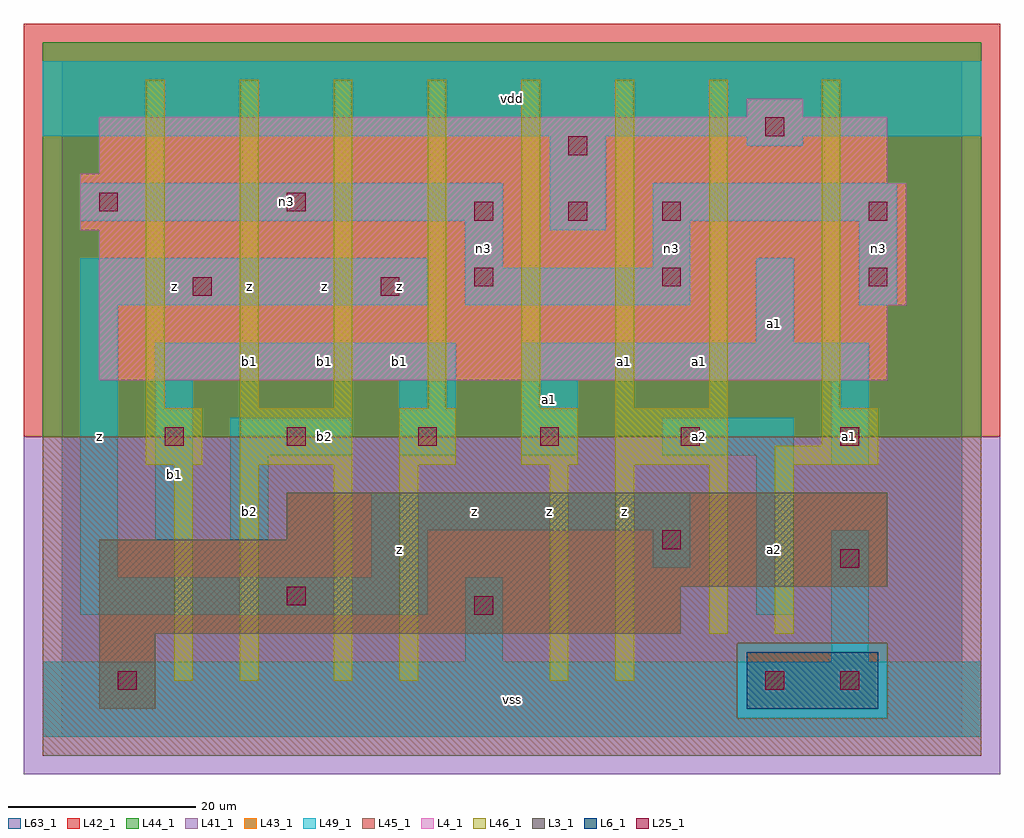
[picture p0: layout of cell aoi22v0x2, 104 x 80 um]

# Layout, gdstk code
import gdstk
lib = gdstk.Library(unit=1e-6, precision=1e-09)
def R(c, l, rs):  # rectangles x0, y0, x1, y1
    for r in rs: c.add(gdstk.rectangle(r[:2], r[2:], *l))
def A(c, l, x, y, w, h, nx, ny, dx, dy):  # array of equal rectangles
    R(c, l, [(x+i*dx, y+j*dy, x+i*dx+w, y+j*dy+h) for i in range(nx) for j in range(ny)])
L3_1 = (3, 1)
L4_1 = (4, 1)
L6_1 = (6, 1)
L25_1 = (25, 1)
L41_1 = (41, 1)
L42_1 = (42, 1)
L43_1 = (43, 1)
L44_1 = (44, 1)
L45_1 = (45, 1)
L46_1 = (46, 1)
L49_1 = (49, 1)
L63_1 = (63, 1)

aoi22v0x2 = lib.new_cell('aoi22v0x2')
R(aoi22v0x2, L3_1, [(4,3,10,11), (4,11,66,16), (4,16,88,21), (24,21,88,26)])
R(aoi22v0x2, L4_1, [(4,38,88,46), (4,46,90,54), (2,54,90,59), (2,59,88,60), (4,60,88,66), (73,66,79,68)])
R(aoi22v0x2, L6_1, [(73,3,87,9), (73,3,87,9)])
A(aoi22v0x2, L25_1, 83, 5, 2, 2, 1, 3, 0, 13)
A(aoi22v0x2, L25_1, 44, 55, 2, 2, 3, 1, 10, 0)
R(aoi22v0x2, L25_1, [(6,5,8,7), (75,5,77,7), (44,13,46,15), (24,14,26,16), (64,20,66,22), (11,31,13,33), (24,31,26,33), (38,31,40,33), (51,31,53,33), (66,31,68,33), (14,47,16,49), (34,47,36,49), (44,48,46,50), (64,48,66,50), (86,48,88,50), (86,55,88,57), (4,56,6,58), (24,56,26,58), (54,62,56,64), (75,64,77,66)])
R(aoi22v0x2, L41_1, [(-4,-4,100,32)])
R(aoi22v0x2, L42_1, [(-4,32,100,76)])
R(aoi22v0x2, L43_1, [(4,3,10,11), (73,3,87,9), (4,11,66,16), (4,16,88,21), (24,21,88,26), (4,38,88,46), (4,46,90,54), (2,54,90,59), (2,59,88,60), (4,60,88,66), (73,66,79,68)])
R(aoi22v0x2, L44_1, [(72,2,88,10), (-2,32,98,74)])
R(aoi22v0x2, L45_1, [(-2,-2,98,2), (-2,2,72,10), (88,2,98,10), (-2,10,98,32)])
A(aoi22v0x2, L46_1, 9, 35, 2, 35, 7, 1, 10, 0)
R(aoi22v0x2, L46_1, [(12,6,14,29), (19,6,21,29), (29,6,31,29), (36,6,38,29), (52,6,54,29), (59,6,61,29), (69,11,71,29), (76,11,78,29), (9,29,15,35), (19,29,31,35), (36,29,42,35), (49,29,55,35), (59,29,71,35), (76,29,87,31), (81,31,87,35), (81,35,83,70)])
R(aoi22v0x2, L49_1, [(-2,0,98,8), (43,8,47,17), (82,8,86,22), (2,13,39,17), (74,13,78,30), (2,17,6,46), (33,17,39,22), (63,18,67,22), (10,21,14,38), (18,21,22,30), (33,22,67,26), (82,29,86,38), (18,30,31,34), (36,30,42,38), (49,30,55,38), (64,30,78,34), (10,38,42,42), (49,38,86,42), (74,42,78,51), (2,46,39,51), (43,46,67,50), (85,46,89,55), (43,50,47,55), (63,50,67,55), (52,54,58,64), (2,55,47,59), (63,55,89,59), (73,63,79,64), (-2,64,98,72)])
R(aoi22v0x2, L63_1, [(0,0,96,72)])
aoi22v0x2.add(gdstk.Label('b1', (12,28), layer=49, texttype=1))
aoi22v0x2.add(gdstk.Label('z', (4,32), layer=49, texttype=1))
aoi22v0x2.add(gdstk.Label('z', (12,48), layer=49, texttype=1))
aoi22v0x2.add(gdstk.Label('b2', (20,24), layer=49, texttype=1))
aoi22v0x2.add(gdstk.Label('b2', (28,32), layer=49, texttype=1))
aoi22v0x2.add(gdstk.Label('b1', (20,40), layer=49, texttype=1))
aoi22v0x2.add(gdstk.Label('b1', (28,40), layer=49, texttype=1))
aoi22v0x2.add(gdstk.Label('z', (20,48), layer=49, texttype=1))
aoi22v0x2.add(gdstk.Label('z', (28,48), layer=49, texttype=1))
aoi22v0x2.add(gdstk.Label('vss', (48,4), layer=49, texttype=1))
aoi22v0x2.add(gdstk.Label('z', (36,20), layer=49, texttype=1))
aoi22v0x2.add(gdstk.Label('z', (44,24), layer=49, texttype=1))
aoi22v0x2.add(gdstk.Label('z', (52,24), layer=49, texttype=1))
aoi22v0x2.add(gdstk.Label('b1', (36,40), layer=49, texttype=1))
aoi22v0x2.add(gdstk.Label('a1', (52,36), layer=49, texttype=1))
aoi22v0x2.add(gdstk.Label('z', (36,48), layer=49, texttype=1))
aoi22v0x2.add(gdstk.Label('n3', (45,52), layer=49, texttype=1))
aoi22v0x2.add(gdstk.Label('n3', (24,57), layer=49, texttype=1))
aoi22v0x2.add(gdstk.Label('vdd', (48,68), layer=49, texttype=1))
aoi22v0x2.add(gdstk.Label('z', (60,24), layer=49, texttype=1))
aoi22v0x2.add(gdstk.Label('a2', (76,20), layer=49, texttype=1))
aoi22v0x2.add(gdstk.Label('a2', (68,32), layer=49, texttype=1))
aoi22v0x2.add(gdstk.Label('a1', (60,40), layer=49, texttype=1))
aoi22v0x2.add(gdstk.Label('a1', (68,40), layer=49, texttype=1))
aoi22v0x2.add(gdstk.Label('a1', (76,44), layer=49, texttype=1))
aoi22v0x2.add(gdstk.Label('n3', (65,52), layer=49, texttype=1))
aoi22v0x2.add(gdstk.Label('a1', (84,32), layer=49, texttype=1))
aoi22v0x2.add(gdstk.Label('n3', (87,52), layer=49, texttype=1))

lib.write_gds('aoi22v0x2.gds')
